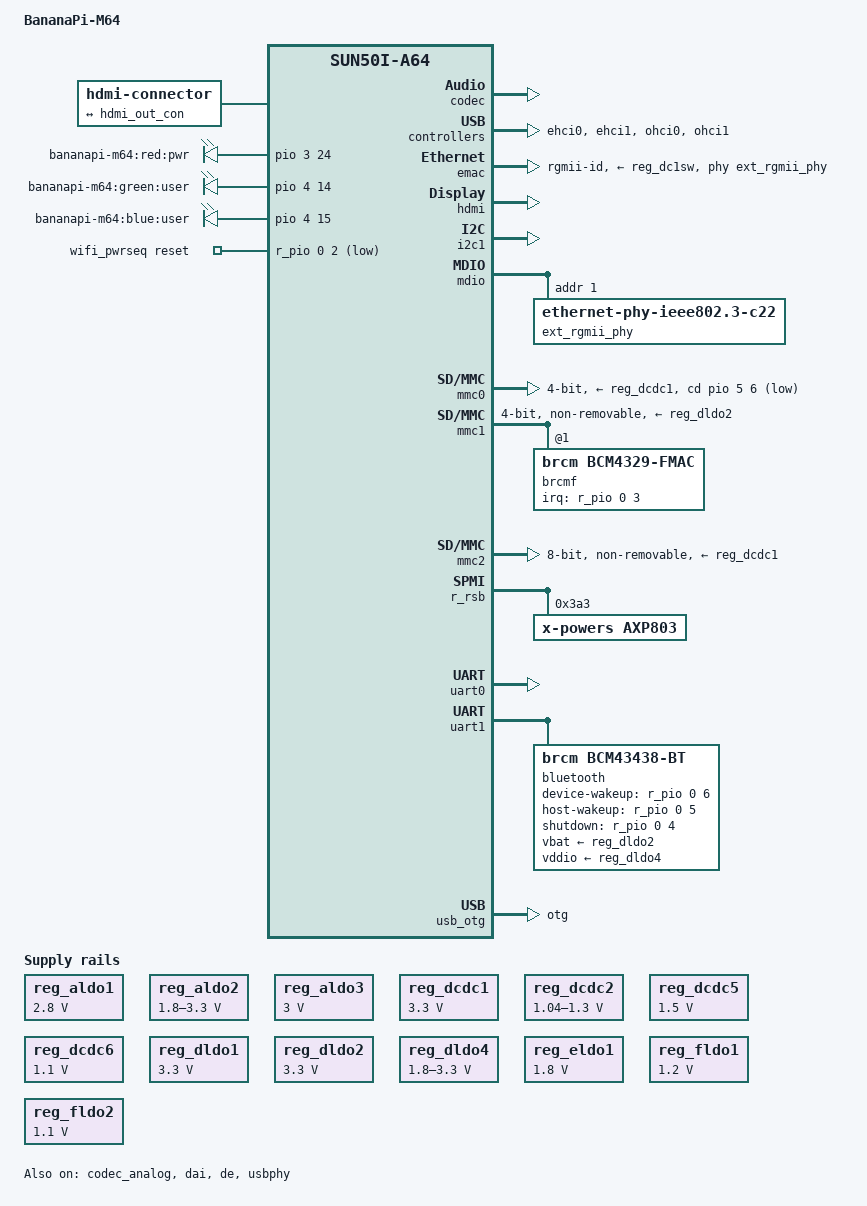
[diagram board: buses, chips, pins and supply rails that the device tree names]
// SPDX-License-Identifier: (GPL-2.0+ OR MIT)
// Copyright (c) 2016 ARM Ltd.

/dts-v1/;

#include "sun50i-a64.dtsi"
#include "sun50i-a64-cpu-opp.dtsi"

#include <dt-bindings/gpio/gpio.h>

/ {
	model = "BananaPi-M64";
	compatible = "sinovoip,bananapi-m64", "allwinner,sun50i-a64";

	aliases {
		ethernet0 = &emac;
		serial0 = &uart0;
		serial1 = &uart1;
	};

	chosen {
		stdout-path = "serial0:115200n8";
	};

	hdmi-connector {
		compatible = "hdmi-connector";
		type = "a";

		port {
			hdmi_con_in: endpoint {
				remote-endpoint = <&hdmi_out_con>;
			};
		};
	};

	leds {
		compatible = "gpio-leds";

		led-0 {
			label = "bananapi-m64:red:pwr";
			gpios = <&pio 3 24 GPIO_ACTIVE_HIGH>; /* PD24 */
			default-state = "on";
		};

		led-1 {
			label = "bananapi-m64:green:user";
			gpios = <&pio 4 14 GPIO_ACTIVE_HIGH>; /* PE14 */
		};

		led-2 {
			label = "bananapi-m64:blue:user";
			gpios = <&pio 4 15 GPIO_ACTIVE_HIGH>; /* PE15 */
		};
	};

	wifi_pwrseq: pwrseq {
		compatible = "mmc-pwrseq-simple";
		reset-gpios = <&r_pio 0 2 GPIO_ACTIVE_LOW>; /* PL2 */
		clocks = <&rtc CLK_OSC32K_FANOUT>;
		clock-names = "ext_clock";
	};
};

&codec {
	status = "okay";
};

&codec_analog {
	cpvdd-supply = <&reg_eldo1>;
	status = "okay";
};

&cpu0 {
	cpu-supply = <&reg_dcdc2>;
};

&cpu1 {
	cpu-supply = <&reg_dcdc2>;
};

&cpu2 {
	cpu-supply = <&reg_dcdc2>;
};

&cpu3 {
	cpu-supply = <&reg_dcdc2>;
};

&dai {
	status = "okay";
};

&de {
	status = "okay";
};

&ehci0 {
	status = "okay";
};

&ehci1 {
	status = "okay";
};

&emac {
	pinctrl-names = "default";
	pinctrl-0 = <&rgmii_pins>;
	phy-mode = "rgmii-id";
	phy-handle = <&ext_rgmii_phy>;
	phy-supply = <&reg_dc1sw>;
	status = "okay";
};

&hdmi {
	hvcc-supply = <&reg_dldo1>;
	status = "okay";
};

&hdmi_out {
	hdmi_out_con: endpoint {
		remote-endpoint = <&hdmi_con_in>;
	};
};

&i2c1 {
	status = "okay";
};

&i2c1_pins {
	bias-pull-up;
};

&mdio {
	ext_rgmii_phy: ethernet-phy@1 {
		compatible = "ethernet-phy-ieee802.3-c22";
		reg = <1>;
	};
};

&mmc0 {
	pinctrl-names = "default";
	pinctrl-0 = <&mmc0_pins>;
	vmmc-supply = <&reg_dcdc1>;
	cd-gpios = <&pio 5 6 GPIO_ACTIVE_LOW>;
	disable-wp;
	bus-width = <4>;
	status = "okay";
};

&mmc1 {
	pinctrl-names = "default";
	pinctrl-0 = <&mmc1_pins>;
	vmmc-supply = <&reg_dldo2>;
	vqmmc-supply = <&reg_dldo4>;
	mmc-pwrseq = <&wifi_pwrseq>;
	bus-width = <4>;
	non-removable;
	status = "okay";

	brcmf: wifi@1 {
		reg = <1>;
		compatible = "brcm,bcm4329-fmac";
		interrupt-parent = <&r_pio>;
		interrupts = <0 3 IRQ_TYPE_LEVEL_LOW>; /* PL3 */
		interrupt-names = "host-wake";
	};
};

&mmc2 {
	pinctrl-names = "default";
	pinctrl-0 = <&mmc2_pins>, <&mmc2_ds_pin>;
	vmmc-supply = <&reg_dcdc1>;
	bus-width = <8>;
	non-removable;
	cap-mmc-hw-reset;
	status = "okay";
};

&ohci0 {
	status = "okay";
};

&ohci1 {
	status = "okay";
};

&r_rsb {
	status = "okay";

	axp803: pmic@3a3 {
		compatible = "x-powers,axp803";
		reg = <0x3a3>;
		interrupt-parent = <&r_intc>;
		interrupts = <GIC_SPI 32 IRQ_TYPE_LEVEL_LOW>;
		x-powers,drive-vbus-en; /* set N_VBUSEN as output pin */
	};
};

#include "axp803.dtsi"

&ac_power_supply {
	status = "okay";
};

&battery_power_supply {
	status = "okay";
};

&reg_aldo1 {
	/*
	 * This regulator also drives the PE pingroup GPIOs,
	 * which also controls two LEDs.
	 */
	regulator-always-on;
	regulator-min-microvolt = <2800000>;
	regulator-max-microvolt = <2800000>;
	regulator-name = "afvcc-csi";
};

&reg_aldo2 {
	regulator-always-on;
	regulator-min-microvolt = <1800000>;
	regulator-max-microvolt = <3300000>;
	regulator-name = "vcc-pl";
};

&reg_aldo3 {
	regulator-always-on;
	regulator-min-microvolt = <3000000>;
	regulator-max-microvolt = <3000000>;
	regulator-name = "vcc-pll-avcc";
};

&reg_dc1sw {
	/*
	 * This regulator also indirectly drives the PD pingroup GPIOs,
	 * which also controls the power LED.
	 */
	regulator-always-on;
	regulator-name = "vcc-phy";
};

&reg_dcdc1 {
	regulator-always-on;
	regulator-min-microvolt = <3300000>;
	regulator-max-microvolt = <3300000>;
	regulator-name = "vcc-3v3";
};

&reg_dcdc2 {
	regulator-always-on;
	regulator-min-microvolt = <1040000>;
	regulator-max-microvolt = <1300000>;
	regulator-name = "vdd-cpux";
};

/* DCDC3 is polyphased with DCDC2 */

&reg_dcdc5 {
	regulator-always-on;
	regulator-min-microvolt = <1500000>;
	regulator-max-microvolt = <1500000>;
	regulator-name = "vcc-dram";
};

&reg_dcdc6 {
	regulator-always-on;
	regulator-min-microvolt = <1100000>;
	regulator-max-microvolt = <1100000>;
	regulator-name = "vdd-sys";
};

&reg_dldo1 {
	regulator-min-microvolt = <3300000>;
	regulator-max-microvolt = <3300000>;
	regulator-name = "vcc-hdmi-dsi";
};

&reg_dldo2 {
	regulator-min-microvolt = <3300000>;
	regulator-max-microvolt = <3300000>;
	regulator-name = "vcc-wifi";
};

&reg_dldo4 {
	regulator-min-microvolt = <1800000>;
	regulator-max-microvolt = <3300000>;
	regulator-name = "vcc-wifi-io";
};

&reg_drivevbus {
	regulator-name = "usb0-vbus";
	status = "okay";
};

&reg_eldo1 {
	regulator-min-microvolt = <1800000>;
	regulator-max-microvolt = <1800000>;
	regulator-name = "cpvdd";
};

&reg_fldo1 {
	regulator-min-microvolt = <1200000>;
	regulator-max-microvolt = <1200000>;
	regulator-name = "vcc-1v2-hsic";
};

/*
 * The A64 chip cannot work without this regulator off, although
 * it seems to be only driving the AR100 core.
 * Maybe we don't still know well about CPUs domain.
 */
&reg_fldo2 {
	regulator-always-on;
	regulator-min-microvolt = <1100000>;
	regulator-max-microvolt = <1100000>;
	regulator-name = "vdd-cpus";
};

&reg_rtc_ldo {
	regulator-name = "vcc-rtc";
};

&simplefb_hdmi {
	vcc-hdmi-supply = <&reg_dldo1>;
};

&sound {
	status = "okay";
	simple-audio-card,widgets = "Headphone", "Headphone Jack",
				    "Microphone", "Microphone Jack",
				    "Microphone", "Onboard Microphone";
	simple-audio-card,routing =
			"Left DAC", "DACL",
			"Right DAC", "DACR",
			"ADCL", "Left ADC",
			"ADCR", "Right ADC",
			"Headphone Jack", "HP",
			"MIC2", "Microphone Jack",
			"Onboard Microphone", "MBIAS",
			"MIC1", "Onboard Microphone";
};

&uart0 {
	pinctrl-names = "default";
	pinctrl-0 = <&uart0_pb_pins>;
	status = "okay";
};

&uart1 {
	pinctrl-names = "default";
	pinctrl-0 = <&uart1_pins>, <&uart1_rts_cts_pins>;
	uart-has-rtscts;
	status = "okay";

	bluetooth {
		compatible = "brcm,bcm43438-bt";
		clocks = <&rtc CLK_OSC32K_FANOUT>;
		clock-names = "lpo";
		vbat-supply = <&reg_dldo2>;
		vddio-supply = <&reg_dldo4>;
		device-wakeup-gpios = <&r_pio 0 6 GPIO_ACTIVE_HIGH>; /* PL6 */
		host-wakeup-gpios = <&r_pio 0 5 GPIO_ACTIVE_HIGH>; /* PL5 */
		shutdown-gpios = <&r_pio 0 4 GPIO_ACTIVE_HIGH>; /* PL4 */
	};
};

&usb_otg {
	dr_mode = "otg";
	status = "okay";
};

&usb_power_supply {
	status = "okay";
};

&usbphy {
	usb0_id_det-gpios = <&pio 7 9 GPIO_ACTIVE_HIGH>; /* PH9 */
	usb0_vbus_power-supply = <&usb_power_supply>;
	usb0_vbus-supply = <&reg_drivevbus>;
	status = "okay";
};
